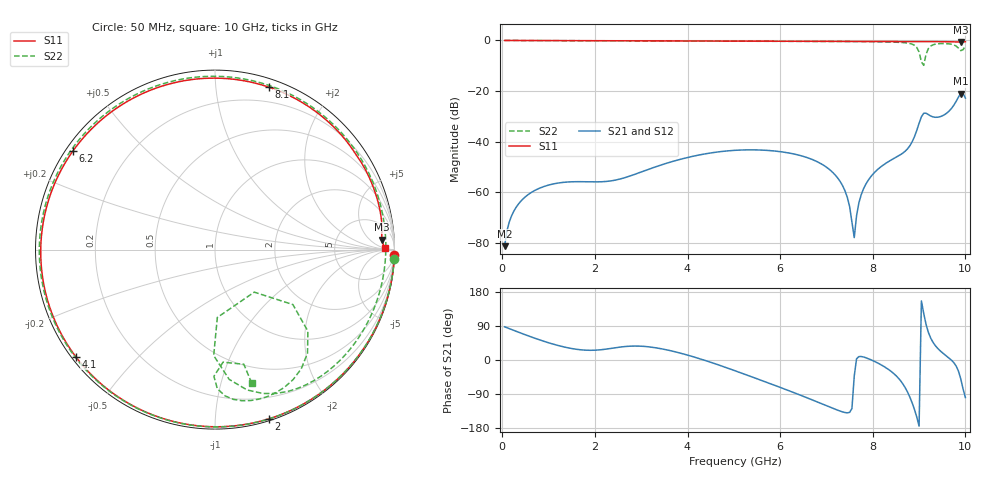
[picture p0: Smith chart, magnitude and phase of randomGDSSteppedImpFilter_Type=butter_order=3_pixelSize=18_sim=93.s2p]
! freq	dB(S11)	phase(S11)	dB(S12)	phase(S12)
!  dB(S21)	phase(S21)	dB(S22)	phase(S22)
!S-par simulation data
#  GHz  S  DB  R 50
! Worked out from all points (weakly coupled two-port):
!   200 points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, 50 MHz to 10 GHz, reference 50 ohm
!   highest |S21| = -20.95 dB at 9.9 GHz (marker M1); lowest = -81.2 dB at 50 MHz (marker M2)
!   lowest |S11| = -0.6 dB at 9.9 GHz (marker M3), VSWR 27.62, Z = 816 + j678 ohm
!   |S11| at or under -10 dB: nowhere
!   |S22| runs from -9.8 to 0.0 dB; largest |S21 - S12| = 0
!   S11 on the Smith chart (normalised r, x): 50 MHz: 0, -61; 2 GHz: 0.02, -1.37; 4.1 GHz: 0.01, -0.34; 6.2 GHz: 0.02, +0.31; 8.1 GHz: 0.07, +1.38; 10 GHz: 35, +5
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0.05  -0.00 -1.9  -81.25 87.6  -81.25 87.6  -0.00 -3.0
0.2  -0.01 -7.4  -69.28 80.4  -69.28 80.4  -0.02 -11.9
0.55  -0.03 -20.3  -60.99 64.2  -60.99 64.2  -0.05 -32.2
1.75  -0.08 -63.5  -55.78 26.3  -55.78 26.3  -0.11 -96.6
2  -0.09 -72.2  -55.86 25.9  -55.86 25.9  -0.12 -108.7
3.4  -0.15 -119.4  -49.36 30.4  -49.36 30.4  -0.18 -170.4
4.1  -0.19 -142.5  -45.81 9.4  -45.81 9.4  -0.21 160.2
5.05  -0.24 -174.2  -43.36 -29.4  -43.36 -29.4  -0.26 119.2
6.2  -0.32 145.4  -44.48 -81.5  -44.48 -81.5  -0.33 65.6
6.7  -0.35 126.8  -47.07 -105.6  -47.07 -105.6  -0.36 41.2
7.35  -0.38 101.6  -57.41 -137.0  -57.41 -137.0  -0.41 9.4
7.6  -0.39 91.7  -77.87 -42.5  -77.87 -42.5  -0.44 -2.7
7.75  -0.40 85.8  -60.95 9.2  -60.95 9.2  -0.46 -9.9
8.1  -0.41 71.8  -51.04 -7.5  -51.04 -7.5  -0.52 -26.9
8.35  -0.42 61.8  -47.72 -25.8  -47.72 -25.8  -0.61 -39.3
8.75  -0.43 45.9  -42.82 -84.4  -42.82 -84.4  -1.03 -62.9
9  -0.46 36.2  -32.71 -174.5  -32.71 -174.5  -4.58 -90.7
9.1  -0.46 32.5  -28.76 123.0  -28.76 123.0  -9.82 -47.3
9.2  -0.45 28.6  -29.28 73.1  -29.28 73.1  -3.24 -41.3
9.55  -0.48 15.4  -29.31 14.5  -29.31 14.5  -1.22 -73.6
9.9  -0.63 3.5  -20.95 -49.8  -20.95 -49.8  -4.03 -85.9
10  -0.49 0.5  -22.78 -99.0  -22.78 -99.0  -2.24 -74.6
